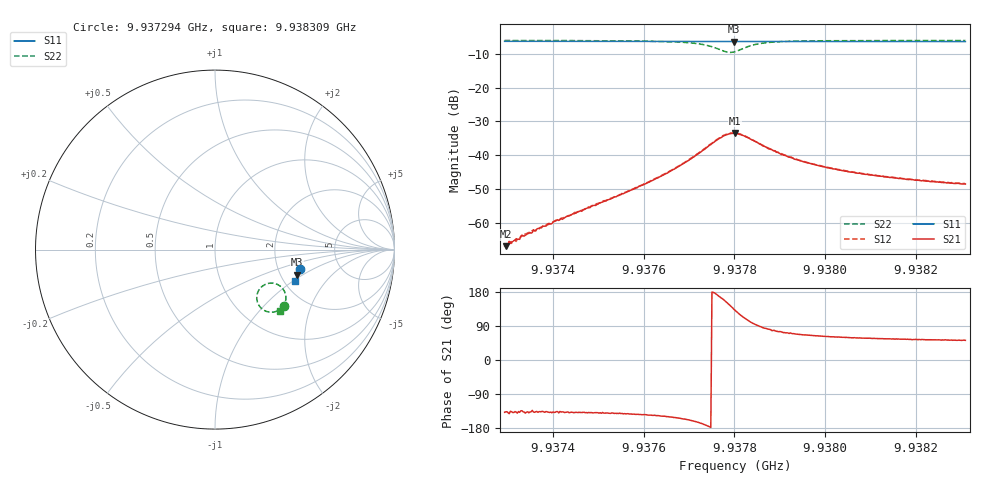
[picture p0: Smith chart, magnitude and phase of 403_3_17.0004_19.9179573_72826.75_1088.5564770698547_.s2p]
#  HZ  S  RI  R  50.00
! Rohde & Schwarz Vector Network Analyzer
! Rohde-Schwarz,ZNB20-2Port,1311601062101988,3.16
! Created: UTC 3/20/2024, 11:10:08 PM
! freq[Hz]  re:S11  im:S11  re:S21  im:S21  re:S12  im:S12  re:S22  im:S22
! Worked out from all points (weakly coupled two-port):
!   401 points, 9.937294 GHz to 9.938309 GHz, reference 50 ohm
!   highest |S21| = -33.42 dB at 9.937801 GHz (marker M1); lowest = -66.9 dB at 9.937296 GHz (marker M2)
!   lowest |S11| = -6.4 dB at 9.937799 GHz (marker M3), VSWR 2.84, Z = 123 - j44.6 ohm
!   |S11| at or under -10 dB: nowhere
!   |S22| runs from -9.6 to -6.1 dB; largest |S21 - S12| = 0.00095
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9.9372936e9  0.4714 -0.108  -0.000341 -0.000307  -0.000339 -0.000317  0.3844 -0.3163
9.9372961e9  0.4712 -0.1082  -0.000329 -0.000311  -0.000374 -0.000295  0.3842 -0.3166
9.9373241e9  0.4708 -0.11  -0.000414 -0.000399  -0.000432 -0.000402  0.382 -0.3185
9.9373418e9  0.4704 -0.1113  -0.0005 -0.000456  -0.000523 -0.000463  0.3807 -0.3196
9.9373621e9  0.4701 -0.1128  -0.000552 -0.000525  -0.00058 -0.000532  0.3791 -0.3211
9.9374053e9  0.4691 -0.1155  -0.000789 -0.000715  -0.000822 -0.000704  0.3755 -0.3246
9.9374637e9  0.4678 -0.1195  -0.00111 -0.000983  -0.00116 -0.001  0.3693 -0.3295
9.937545e9  0.4659 -0.1249  -0.00198 -0.00159  -0.002 -0.0016  0.3581 -0.3369
9.9376338e9  0.4638 -0.1308  -0.00397 -0.00256  -0.00409 -0.00255  0.3366 -0.346
9.9376872e9  0.4622 -0.1344  -0.00683 -0.0031  -0.00695 -0.00305  0.3112 -0.349
9.9377354e9  0.4605 -0.1375  -0.0122 -0.00198  -0.0126 -0.00172  0.2667 -0.3341
9.9377735e9  0.4587 -0.1393  -0.0179 0.00588  -0.018 0.00645  0.2327 -0.2653
9.9377862e9  0.4584 -0.1396  -0.0175 0.0106  -0.0175 0.0113  0.2428 -0.2284
9.9377989e9  0.4581 -0.1396  -0.0147 0.0152  -0.0145 0.0158  0.271 -0.1989
9.9378014e9  0.4583 -0.1397  -0.0141 0.016  -0.0137 0.0164  0.278 -0.1948
9.9378192e9  0.4587 -0.1405  -0.00765 0.0181  -0.00722 0.0184  0.329 -0.1881
9.9378547e9  0.4586 -0.143  0.000249 0.0147  0.000454 0.0151  0.3838 -0.2267
9.9379055e9  0.4578 -0.1468  0.0029 0.0098  0.00312 0.01  0.3951 -0.2716
9.9379715e9  0.4564 -0.1514  0.00317 0.00673  0.00333 0.00672  0.3895 -0.2995
9.9380503e9  0.4544 -0.1567  0.00293 0.00492  0.00305 0.00495  0.3811 -0.3164
9.9381417e9  0.4519 -0.1627  0.00263 0.00389  0.0028 0.00391  0.3728 -0.3284
9.9383093e9  0.4471 -0.1733  0.00231 0.00295  0.00238 0.00294  0.36 -0.3428
